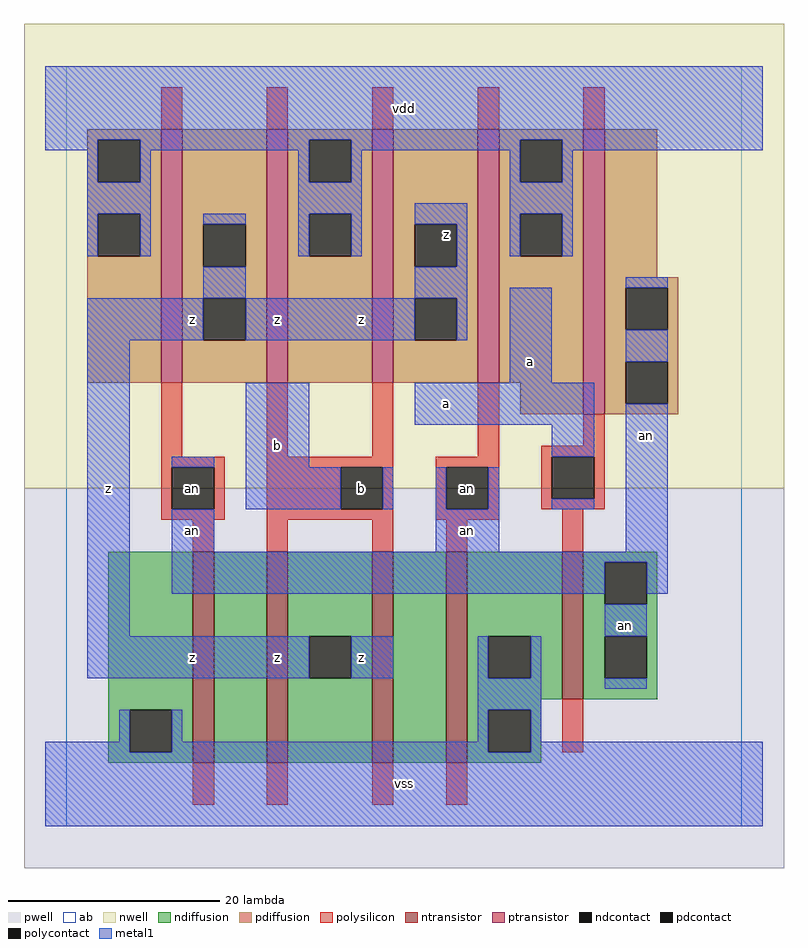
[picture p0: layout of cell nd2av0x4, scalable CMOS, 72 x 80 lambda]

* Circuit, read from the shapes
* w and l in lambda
.subckt nd2av0x4 a an b vdd vss z
M1 n1 an vss VSUBS nfet w=20 l=2
M2 z b n1 VSUBS nfet w=20 l=2
M3 n2 b z VSUBS nfet w=20 l=2
M4 vss an n2 VSUBS nfet w=20 l=2
M5 an a vss VSUBS nfet w=14 l=2
M6 z an vdd n3 pfet w=24 l=2 m=2
M7 vdd b z n3 pfet w=24 l=2 m=2
M8 an a vdd n3 pfet w=27 l=2
.ends

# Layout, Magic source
magic
tech scmos
<< ab >>
rect 0 0 64 72
<< pwell >>
rect -4 -4 68 32
<< nwell >>
rect -4 32 68 76
<< polysilicon >>
rect 9 66 11 70
rect 19 66 21 70
rect 29 66 31 70
rect 39 66 41 70
rect 49 66 51 70
rect 9 35 11 42
rect 19 35 21 42
rect 29 35 31 42
rect 39 35 41 42
rect 49 36 51 39
rect 9 34 15 35
rect 9 30 10 34
rect 14 30 15 34
rect 9 29 15 30
rect 19 34 31 35
rect 19 30 26 34
rect 30 30 31 34
rect 19 29 31 30
rect 35 34 41 35
rect 35 30 36 34
rect 40 30 41 34
rect 45 35 51 36
rect 45 31 46 35
rect 50 31 51 35
rect 45 30 51 31
rect 35 29 41 30
rect 12 26 14 29
rect 19 26 21 29
rect 29 26 31 29
rect 36 26 38 29
rect 47 26 49 30
rect 47 7 49 12
rect 12 2 14 6
rect 19 2 21 6
rect 29 2 31 6
rect 36 2 38 6
<< ndiffusion >>
rect 4 11 12 26
rect 4 7 6 11
rect 10 7 12 11
rect 4 6 12 7
rect 14 6 19 26
rect 21 18 29 26
rect 21 14 23 18
rect 27 14 29 18
rect 21 6 29 14
rect 31 6 36 26
rect 38 18 47 26
rect 38 14 40 18
rect 44 14 47 18
rect 38 12 47 14
rect 49 25 56 26
rect 49 21 51 25
rect 55 21 56 25
rect 49 18 56 21
rect 49 14 51 18
rect 55 14 56 18
rect 49 12 56 14
rect 38 11 45 12
rect 38 7 40 11
rect 44 7 45 11
rect 38 6 45 7
<< pdiffusion >>
rect 2 65 9 66
rect 2 61 3 65
rect 7 61 9 65
rect 2 58 9 61
rect 2 54 3 58
rect 7 54 9 58
rect 2 42 9 54
rect 11 57 19 66
rect 11 53 13 57
rect 17 53 19 57
rect 11 50 19 53
rect 11 46 13 50
rect 17 46 19 50
rect 11 42 19 46
rect 21 65 29 66
rect 21 61 23 65
rect 27 61 29 65
rect 21 58 29 61
rect 21 54 23 58
rect 27 54 29 58
rect 21 42 29 54
rect 31 57 39 66
rect 31 53 33 57
rect 37 53 39 57
rect 31 50 39 53
rect 31 46 33 50
rect 37 46 39 50
rect 31 42 39 46
rect 41 65 49 66
rect 41 61 43 65
rect 47 61 49 65
rect 41 58 49 61
rect 41 54 43 58
rect 47 54 49 58
rect 41 42 49 54
rect 43 39 49 42
rect 51 52 56 66
rect 51 51 58 52
rect 51 47 53 51
rect 57 47 58 51
rect 51 44 58 47
rect 51 40 53 44
rect 57 40 58 44
rect 51 39 58 40
<< metal1 >>
rect -2 65 66 72
rect -2 64 3 65
rect 2 61 3 64
rect 7 64 23 65
rect 7 61 8 64
rect 2 58 8 61
rect 22 61 23 64
rect 27 64 43 65
rect 27 61 28 64
rect 22 58 28 61
rect 42 61 43 64
rect 47 64 66 65
rect 47 61 48 64
rect 2 54 3 58
rect 7 54 8 58
rect 13 57 17 58
rect 22 54 23 58
rect 27 54 28 58
rect 33 57 38 59
rect 13 50 17 53
rect 37 53 38 57
rect 42 58 48 61
rect 42 54 43 58
rect 47 54 48 58
rect 33 50 38 53
rect 53 51 57 52
rect 2 46 13 50
rect 17 46 33 50
rect 37 46 38 50
rect 2 18 6 46
rect 42 42 46 51
rect 53 44 57 47
rect 10 34 14 35
rect 17 34 23 42
rect 33 38 50 42
rect 46 35 50 38
rect 17 30 26 34
rect 30 30 31 34
rect 35 30 36 34
rect 40 30 41 34
rect 46 30 50 31
rect 10 26 14 30
rect 35 26 41 30
rect 53 26 57 40
rect 10 25 57 26
rect 10 22 51 25
rect 55 22 57 25
rect 51 18 55 21
rect 2 14 23 18
rect 27 14 31 18
rect 39 14 40 18
rect 44 14 45 18
rect 39 11 45 14
rect 51 13 55 14
rect 5 8 6 11
rect -2 7 6 8
rect 10 8 11 11
rect 39 8 40 11
rect 10 7 40 8
rect 44 8 45 11
rect 44 7 66 8
rect -2 0 66 7
<< ntransistor >>
rect 12 6 14 26
rect 19 6 21 26
rect 29 6 31 26
rect 36 6 38 26
rect 47 12 49 26
<< ptransistor >>
rect 9 42 11 66
rect 19 42 21 66
rect 29 42 31 66
rect 39 42 41 66
rect 49 39 51 66
<< polycontact >>
rect 10 30 14 34
rect 26 30 30 34
rect 36 30 40 34
rect 46 31 50 35
<< ndcontact >>
rect 6 7 10 11
rect 23 14 27 18
rect 40 14 44 18
rect 51 21 55 25
rect 51 14 55 18
rect 40 7 44 11
<< pdcontact >>
rect 3 61 7 65
rect 3 54 7 58
rect 13 53 17 57
rect 13 46 17 50
rect 23 61 27 65
rect 23 54 27 58
rect 33 53 37 57
rect 33 46 37 50
rect 43 61 47 65
rect 43 54 47 58
rect 53 47 57 51
rect 53 40 57 44
<< labels >>
rlabel polycontact 12 32 12 32 6 an
rlabel polycontact 38 32 38 32 6 an
rlabel metal1 12 16 12 16 6 z
rlabel metal1 12 28 12 28 6 an
rlabel metal1 4 32 4 32 6 z
rlabel metal1 12 48 12 48 6 z
rlabel metal1 20 16 20 16 6 z
rlabel metal1 28 16 28 16 6 z
rlabel polycontact 28 32 28 32 6 b
rlabel metal1 20 36 20 36 6 b
rlabel metal1 20 48 20 48 6 z
rlabel metal1 28 48 28 48 6 z
rlabel metal1 32 4 32 4 6 vss
rlabel metal1 38 28 38 28 6 an
rlabel metal1 36 40 36 40 6 a
rlabel metal1 44 44 44 44 6 a
rlabel pdcontact 36 56 36 56 6 z
rlabel metal1 32 68 32 68 6 vdd
rlabel metal1 53 19 53 19 6 an
rlabel metal1 55 37 55 37 6 an
<< end >>
